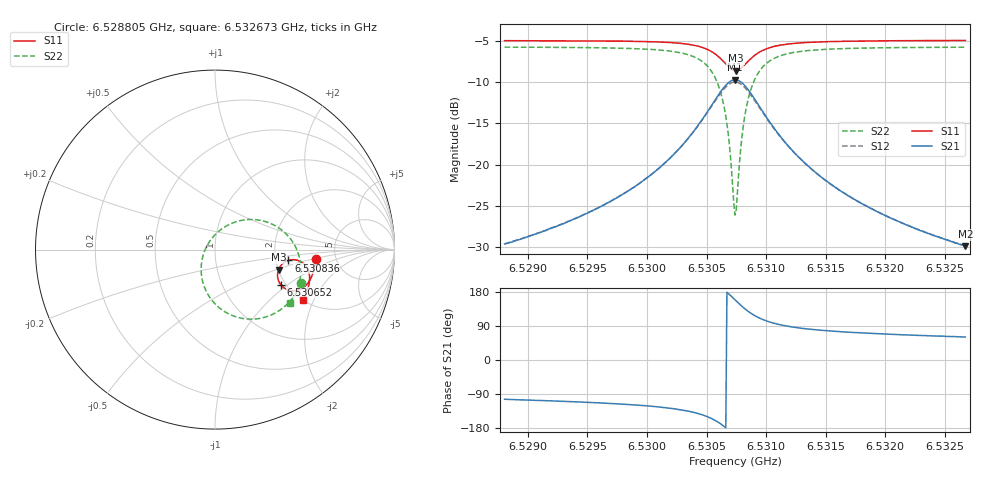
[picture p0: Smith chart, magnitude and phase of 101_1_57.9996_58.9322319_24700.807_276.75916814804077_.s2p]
#  HZ  S  RI  R  50.00
! Rohde & Schwarz Vector Network Analyzer
! Rohde-Schwarz,ZNB20-2Port,1311601062101988,3.16
! Created: UTC 3/21/2024, 12:54:48 AM
! freq[Hz]  re:S11  im:S11  re:S21  im:S21  re:S12  im:S12  re:S22  im:S22
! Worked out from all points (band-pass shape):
!   401 points, 6.528805 GHz to 6.532673 GHz, reference 50 ohm
!   highest |S21| = -9.72 dB at 6.530739 GHz (marker M1); lowest = -29.9 dB at 6.532673 GHz (marker M2)
!   |S21| within 3 dB of the highest: 6.530546 GHz to 6.530933 GHz (387.2 kHz wide, 0.00593 % of centre)
!   lowest |S11| = -8.6 dB at 6.530749 GHz (marker M3), VSWR 2.18, Z = 100 - j25.9 ohm
!   |S11| at or under -10 dB: nowhere
!   |S22| runs from -26.1 to -5.8 dB; largest |S21 - S12| = 0.014
!   S11 on the Smith chart (normalised r, x): 6.528805 GHz: 3.48, -0.56; 6.530652 GHz: 1.88, -0.88; 6.530836 GHz: 2.35, -0.34; 6.532673 GHz: 2.00, -1.66
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6.5288055e9  0.5607 -0.055  -0.00778 -0.0322  -0.00861 -0.0321  0.4806 -0.1843
6.5294532e9  0.5513 -0.1102  -0.0177 -0.0458  -0.0188 -0.0455  0.4484 -0.2466
6.5298206e9  0.5401 -0.1459  -0.0308 -0.0604  -0.0324 -0.0597  0.4138 -0.2918
6.5301009e9  0.524 -0.1781  -0.0532 -0.079  -0.0555 -0.0774  0.363 -0.3365
6.5303233e9  0.4965 -0.2085  -0.0951 -0.1  -0.0982 -0.0966  0.2778 -0.3769
6.5304877e9  0.451 -0.2286  -0.1673 -0.1077  -0.17 -0.1005  0.1446 -0.3818
6.5305843e9  0.4034 -0.2233  -0.2415 -0.0804  -0.2408 -0.0697  0.0207 -0.3214
6.530652e9  0.3658 -0.1946  -0.2966 -0.0187  -0.2902 -0.00775  -0.0598 -0.2068
6.530681e9  0.3541 -0.1731  -0.3115 0.0219  -0.3024 0.0318  -0.076 -0.1362
6.5307197e9  0.3486 -0.1382  -0.3135 0.0852  -0.3015 0.0915  -0.0662 -0.0319
6.530739e9  0.3515 -0.1202  -0.3048 0.1171  -0.2925 0.1213  -0.0459 0.0186
6.5307487e9  0.3544 -0.1112  -0.2979 0.1327  -0.2856 0.1354  -0.0322 0.0423
6.5307584e9  0.3581 -0.103  -0.2898 0.1471  -0.2778 0.1488  -0.016 0.0642
6.530797e9  0.3805 -0.0754  -0.2464 0.1935  -0.2361 0.1918  0.0638 0.132
6.5308357e9  0.4088 -0.0602  -0.1948 0.2188  -0.1872 0.2152  0.1536 0.164
6.5309034e9  0.4549 -0.0584  -0.1146 0.2219  -0.1107 0.2184  0.2882 0.1536
6.5310001e9  0.4956 -0.0802  -0.0453 0.1898  -0.0435 0.1878  0.4002 0.083
6.5311451e9  0.52 -0.1169  -0.00314 0.1407  -0.00182 0.14  0.4622 -0.0168
6.5313868e9  0.5273 -0.161  0.0151 0.0923  0.0162 0.0918  0.479 -0.1185
6.5316865e9  0.5227 -0.1983  0.0186 0.0623  0.0195 0.0621  0.4694 -0.1878
6.5320345e9  0.5125 -0.2317  0.0179 0.0444  0.0188 0.0442  0.452 -0.2378
6.5326726e9  0.4897 -0.2817  0.0158 0.028  0.0163 0.0279  0.4191 -0.2979
